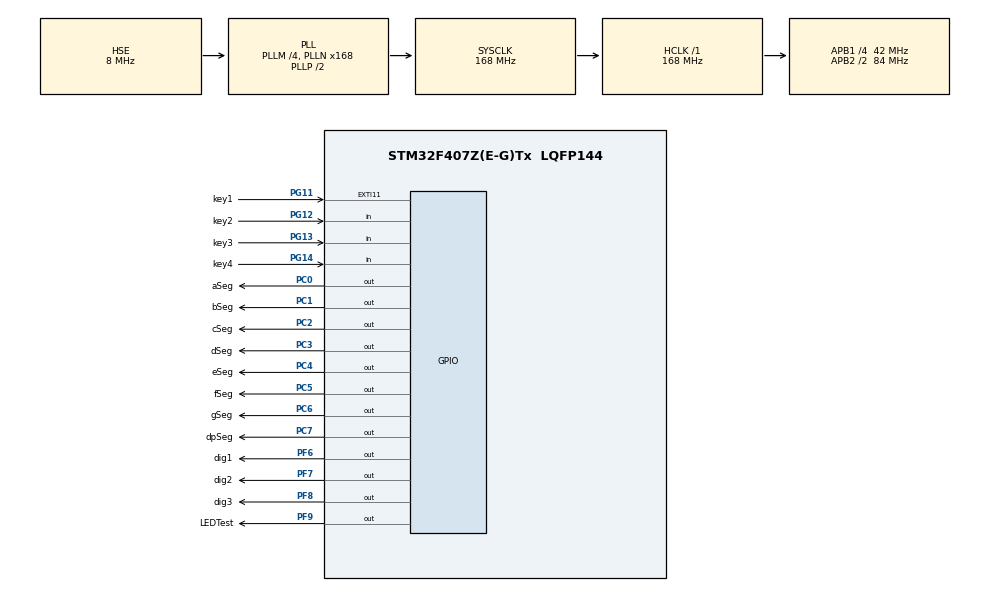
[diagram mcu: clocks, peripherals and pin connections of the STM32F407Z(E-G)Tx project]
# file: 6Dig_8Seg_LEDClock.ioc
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Mcu.Family=STM32F4
Mcu.Name=STM32F407Z(E-G)Tx
Mcu.Package=LQFP144
NVIC.EXTI15_10_IRQn=true\:0\:0\:false\:false\:true\:true\:true\:true
NVIC.PriorityGroup=NVIC_PRIORITYGROUP_4
NVIC.RCC_IRQn=true\:2\:0\:true\:false\:true\:true\:false\:true
NVIC.TIM1_UP_TIM10_IRQn=true\:1\:0\:true\:false\:true\:true\:true\:true
NVIC.TIM6_DAC_IRQn=true\:4\:0\:true\:false\:true\:true\:true\:true
PA13.Mode=Serial_Wire
PA13.Signal=SYS_JTMS-SWDIO
PA14.Mode=Serial_Wire
PA14.Signal=SYS_JTCK-SWCLK
PC0.GPIO_Label=aSeg
PC0.GPIO_PuPd=GPIO_PULLDOWN
PC0.PinState=GPIO_PIN_SET
PC0.Signal=GPIO_Output
PC1.GPIO_Label=bSeg
PC1.GPIO_PuPd=GPIO_PULLDOWN
PC1.PinState=GPIO_PIN_SET
PC1.Signal=GPIO_Output
PC14-OSC32_IN.Mode=LSE-External-Oscillator
PC14-OSC32_IN.Signal=RCC_OSC32_IN
PC15-OSC32_OUT.Mode=LSE-External-Oscillator
PC15-OSC32_OUT.Signal=RCC_OSC32_OUT
PC2.GPIO_Label=cSeg
PC2.GPIO_PuPd=GPIO_PULLDOWN
PC2.PinState=GPIO_PIN_SET
PC2.Signal=GPIO_Output
PC3.GPIO_Label=dSeg
PC3.GPIO_PuPd=GPIO_PULLDOWN
PC3.PinState=GPIO_PIN_SET
PC3.Signal=GPIO_Output
PC4.GPIO_Label=eSeg
PC4.GPIO_PuPd=GPIO_PULLDOWN
PC4.PinState=GPIO_PIN_SET
PC4.Signal=GPIO_Output
PC5.GPIO_Label=fSeg
PC5.GPIO_PuPd=GPIO_PULLDOWN
PC5.PinState=GPIO_PIN_SET
PC5.Signal=GPIO_Output
PC6.GPIO_Label=gSeg
PC6.GPIO_PuPd=GPIO_PULLDOWN
PC6.PinState=GPIO_PIN_SET
PC6.Signal=GPIO_Output
PC7.GPIO_Label=dpSeg
PC7.GPIO_PuPd=GPIO_PULLDOWN
PC7.PinState=GPIO_PIN_SET
PC7.Signal=GPIO_Output
PF6.GPIO_Label=dig1
PF6.GPIO_ModeDefaultOutputPP=GPIO_MODE_OUTPUT_PP
PF6.GPIO_PuPd=GPIO_PULLUP
PF6.PinState=GPIO_PIN_SET
PF6.Signal=GPIO_Output
PF7.GPIO_Label=dig2
PF7.GPIO_PuPd=GPIO_PULLUP
PF7.PinState=GPIO_PIN_SET
PF7.Signal=GPIO_Output
PF8.GPIO_Label=dig3
PF8.GPIO_PuPd=GPIO_PULLUP
PF8.PinState=GPIO_PIN_SET
PF8.Signal=GPIO_Output
PF9.GPIO_Label=LEDTest
PF9.GPIO_PuPd=GPIO_PULLUP
PF9.PinState=GPIO_PIN_SET
PF9.Signal=GPIO_Output
PG11.GPIO_Label=key1
PG11.GPIO_ModeDefaultEXTI=GPIO_MODE_IT_RISING_FALLING
PG11.GPIO_PuPd=GPIO_PULLUP
PG11.Signal=GPXTI11
PG12.GPIO_Label=key2
PG12.GPIO_PuPd=GPIO_PULLUP
PG12.Signal=GPIO_Input
PG13.GPIO_Label=key3
PG13.GPIO_PuPd=GPIO_PULLUP
PG13.Signal=GPIO_Input
PG14.GPIO_Label=key4
PG14.GPIO_PuPd=GPIO_PULLUP
PG14.Signal=GPIO_Input
PH0-OSC_IN.Mode=HSE-External-Oscillator
PH0-OSC_IN.Signal=RCC_OSC_IN
PH1-OSC_OUT.Mode=HSE-External-Oscillator
PH1-OSC_OUT.Signal=RCC_OSC_OUT
ProjectManager.HeapSize=0x200
ProjectManager.StackSize=0x400
ProjectManager.TargetToolchain=MDK-ARM V5.32
RCC.48MHZClocksFreq_Value=84000000
RCC.AHBFreq_Value=168000000
RCC.APB1CLKDivider=RCC_HCLK_DIV4
RCC.APB1Freq_Value=42000000
RCC.APB1TimFreq_Value=84000000
RCC.APB2CLKDivider=RCC_HCLK_DIV2
RCC.APB2Freq_Value=84000000
RCC.APB2TimFreq_Value=168000000
RCC.CortexFreq_Value=168000000
RCC.HCLKFreq_Value=168000000
RCC.HSE_VALUE=8000000
RCC.HSI_VALUE=16000000
RCC.PLLM=4
RCC.PLLN=168
RCC.PLLSourceVirtual=RCC_PLLSOURCE_HSE
RCC.RCC_RTC_Clock_Source=RCC_RTCCLKSOURCE_LSE
RCC.RCC_RTC_Clock_SourceVirtual=RCC_RTCCLKSOURCE_LSE
RCC.SYSCLKFreq_VALUE=168000000
RCC.SYSCLKSource=RCC_SYSCLKSOURCE_PLLCLK
RCC.VCOOutputFreq_Value=336000000
RTC.Format=RTC_FORMAT_BIN
RTC.Month=RTC_MONTH_JANUARY
TIM10.Period=999
TIM10.Prescaler=167
TIM6.AutoReloadPreload=TIM_AUTORELOAD_PRELOAD_ENABLE
TIM6.Period=999
TIM6.Prescaler=83
VP_RTC_VS_RTC_Activate.Mode=RTC_Enabled
VP_RTC_VS_RTC_Calendar.Mode=RTC_Calendar
VP_TIM10_VS_ClockSourceINT.Mode=Enable_Timer
VP_TIM6_VS_ClockSourceINT.Mode=Enable_Timer
board=custom

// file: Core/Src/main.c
/* USER CODE BEGIN Header */
/**
  ******************************************************************************
  * @file           : main.c
  * @brief          : Main program body
  ******************************************************************************
  * @attention
  *
  * Copyright (c) 2026 STMicroelectronics.
  * All rights reserved.
  *
  * This software is licensed under terms that can be found in the LICENSE file
  * in the root directory of this software component.
  * If no LICENSE file comes with this software, it is provided AS-IS.
  *
  ******************************************************************************
  */
/* USER CODE END Header */
#include "main.h"

/* USER CODE BEGIN Includes */
#include "key.h"
#include "LED.h"
#include "RTCGet.h"
#include "LEDInit.h"
// #include "LEDChange.h"
/* USER CODE END Includes */

RTC_HandleTypeDef hrtc;

TIM_HandleTypeDef htim6;
TIM_HandleTypeDef htim10;

/* USER CODE BEGIN PV */

RTC_HandleTypeDef hrtc;
TIM_HandleTypeDef htim6;

int LEDStatusNum = 0;
int *LEDStatus = &LEDStatusNum;

RTC_TimeTypeDef TimeNum = {0};
RTC_TimeTypeDef *Time = &TimeNum;

int modeStatus = 0;
int *modeOfLED = &modeStatus;

/* USER CODE END PV */

void SystemClock_Config(void);
static void MX_GPIO_Init(void);
static void MX_RTC_Init(void);
static void MX_TIM6_Init(void);
static void MX_TIM10_Init(void);

int main(void)
{

  /* MCU Configuration--------------------------------------------------------*/

  /* Reset of all peripherals, Initializes the Flash interface and the Systick. */
  HAL_Init();

  /* Configure the system clock */
  SystemClock_Config();

  /* Initialize all configured peripherals */
  MX_GPIO_Init();
  MX_RTC_Init();
  MX_TIM6_Init();
  MX_TIM10_Init();
  /* USER CODE BEGIN 2 */
  HAL_RTC_Init(&hrtc);
	LEDInit();

  HAL_TIM_Base_Start_IT(&htim6);
  HAL_TIM_Base_Start_IT(&htim10);

  /* USER CODE END 2 */

  /* Infinite loop */
  while (1)
  {

  }
}

void SystemClock_Config(void)
{
  RCC_OscInitTypeDef RCC_OscInitStruct = {0};
  RCC_ClkInitTypeDef RCC_ClkInitStruct = {0};

  /** Configure the main internal regulator output voltage
  */
  __HAL_RCC_PWR_CLK_ENABLE();
  __HAL_PWR_VOLTAGESCALING_CONFIG(PWR_REGULATOR_VOLTAGE_SCALE1);

  /** Initializes the RCC Oscillators according to the specified parameters
  * in the RCC_OscInitTypeDef structure.
  */
  RCC_OscInitStruct.OscillatorType = RCC_OSCILLATORTYPE_HSE|RCC_OSCILLATORTYPE_LSE;
  RCC_OscInitStruct.HSEState = RCC_HSE_ON;
  RCC_OscInitStruct.LSEState = RCC_LSE_ON;
  RCC_OscInitStruct.PLL.PLLState = RCC_PLL_ON;
  RCC_OscInitStruct.PLL.PLLSource = RCC_PLLSOURCE_HSE;
  RCC_OscInitStruct.PLL.PLLM = 4;
  RCC_OscInitStruct.PLL.PLLN = 168;
  RCC_OscInitStruct.PLL.PLLP = RCC_PLLP_DIV2;
  RCC_OscInitStruct.PLL.PLLQ = 4;
  if (HAL_RCC_OscConfig(&RCC_OscInitStruct) != HAL_OK)
  {
    Error_Handler();
  }

  /** Initializes the CPU, AHB and APB buses clocks
  */
  RCC_ClkInitStruct.ClockType = RCC_CLOCKTYPE_HCLK|RCC_CLOCKTYPE_SYSCLK
                              |RCC_CLOCKTYPE_PCLK1|RCC_CLOCKTYPE_PCLK2;
  RCC_ClkInitStruct.SYSCLKSource = RCC_SYSCLKSOURCE_PLLCLK;
  RCC_ClkInitStruct.AHBCLKDivider = RCC_SYSCLK_DIV1;
  RCC_ClkInitStruct.APB1CLKDivider = RCC_HCLK_DIV4;
  RCC_ClkInitStruct.APB2CLKDivider = RCC_HCLK_DIV2;

  if (HAL_RCC_ClockConfig(&RCC_ClkInitStruct, FLASH_LATENCY_5) != HAL_OK)
  {
    Error_Handler();
  }
}

static void MX_RTC_Init(void)
{

  RTC_TimeTypeDef sTime = {0};
  RTC_DateTypeDef sDate = {0};

  /** Initialize RTC Only
  */
  hrtc.Instance = RTC;
  hrtc.Init.HourFormat = RTC_HOURFORMAT_24;
  hrtc.Init.AsynchPrediv = 127;
  hrtc.Init.SynchPrediv = 255;
  hrtc.Init.OutPut = RTC_OUTPUT_DISABLE;
  hrtc.Init.OutPutPolarity = RTC_OUTPUT_POLARITY_HIGH;
  hrtc.Init.OutPutType = RTC_OUTPUT_TYPE_OPENDRAIN;
  if (HAL_RTC_Init(&hrtc) != HAL_OK)
  {
    Error_Handler();
  }

  /** Initialize RTC and set the Time and Date
  */
  sTime.Hours = 0;
  sTime.Minutes = 0;
  sTime.Seconds = 0;
  sTime.DayLightSaving = RTC_DAYLIGHTSAVING_NONE;
  sTime.StoreOperation = RTC_STOREOPERATION_RESET;
  if (HAL_RTC_SetTime(&hrtc, &sTime, RTC_FORMAT_BIN) != HAL_OK)
  {
    Error_Handler();
  }
  sDate.WeekDay = RTC_WEEKDAY_MONDAY;
  sDate.Month = RTC_MONTH_JANUARY;
  sDate.Date = 1;
  sDate.Year = 0;

  if (HAL_RTC_SetDate(&hrtc, &sDate, RTC_FORMAT_BIN) != HAL_OK)
  {
    Error_Handler();
  }

}

static void MX_TIM6_Init(void)
{

  TIM_MasterConfigTypeDef sMasterConfig = {0};

  htim6.Instance = TIM6;
  htim6.Init.Prescaler = 83;
  htim6.Init.CounterMode = TIM_COUNTERMODE_UP;
  htim6.Init.Period = 999;
  htim6.Init.AutoReloadPreload = TIM_AUTORELOAD_PRELOAD_ENABLE;
  if (HAL_TIM_Base_Init(&htim6) != HAL_OK)
  {
    Error_Handler();
  }
  sMasterConfig.MasterOutputTrigger = TIM_TRGO_RESET;
  sMasterConfig.MasterSlaveMode = TIM_MASTERSLAVEMODE_DISABLE;
  if (HAL_TIMEx_MasterConfigSynchronization(&htim6, &sMasterConfig) != HAL_OK)
  {
    Error_Handler();
  }

}

static void MX_TIM10_Init(void)
{

  htim10.Instance = TIM10;
  htim10.Init.Prescaler = 167;
  htim10.Init.CounterMode = TIM_COUNTERMODE_UP;
  htim10.Init.Period = 999;
  htim10.Init.ClockDivision = TIM_CLOCKDIVISION_DIV1;
  htim10.Init.AutoReloadPreload = TIM_AUTORELOAD_PRELOAD_DISABLE;
  if (HAL_TIM_Base_Init(&htim10) != HAL_OK)
  {
    Error_Handler();
  }

}

static void MX_GPIO_Init(void)
{
  GPIO_InitTypeDef GPIO_InitStruct = {0};

  /* GPIO Ports Clock Enable */
  __HAL_RCC_GPIOC_CLK_ENABLE();
  __HAL_RCC_GPIOF_CLK_ENABLE();
  __HAL_RCC_GPIOH_CLK_ENABLE();
  __HAL_RCC_GPIOA_CLK_ENABLE();
  __HAL_RCC_GPIOG_CLK_ENABLE();

  /*Configure GPIO pin Output Level */
  HAL_GPIO_WritePin(GPIOF, dig1_Pin|dig2_Pin|dig3_Pin|LEDTest_Pin, GPIO_PIN_SET);

  /*Configure GPIO pin Output Level */
  HAL_GPIO_WritePin(GPIOC, aSeg_Pin|bSeg_Pin|cSeg_Pin|dSeg_Pin
                          |eSeg_Pin|fSeg_Pin|gSeg_Pin|dpSeg_Pin, GPIO_PIN_SET);

  /*Configure GPIO pins : dig1_Pin dig2_Pin dig3_Pin LEDTest_Pin */
  GPIO_InitStruct.Pin = dig1_Pin|dig2_Pin|dig3_Pin|LEDTest_Pin;
  GPIO_InitStruct.Mode = GPIO_MODE_OUTPUT_PP;
  GPIO_InitStruct.Pull = GPIO_PULLUP;
  GPIO_InitStruct.Speed = GPIO_SPEED_FREQ_LOW;
  HAL_GPIO_Init(GPIOF, &GPIO_InitStruct);

  /*Configure GPIO pins : aSeg_Pin bSeg_Pin cSeg_Pin dSeg_Pin
                           eSeg_Pin fSeg_Pin gSeg_Pin dpSeg_Pin */
  GPIO_InitStruct.Pin = aSeg_Pin|bSeg_Pin|cSeg_Pin|dSeg_Pin
                          |eSeg_Pin|fSeg_Pin|gSeg_Pin|dpSeg_Pin;
  GPIO_InitStruct.Mode = GPIO_MODE_OUTPUT_PP;
  GPIO_InitStruct.Pull = GPIO_PULLDOWN;
  GPIO_InitStruct.Speed = GPIO_SPEED_FREQ_LOW;
  HAL_GPIO_Init(GPIOC, &GPIO_InitStruct);

  /*Configure GPIO pin : key1_Pin */
  GPIO_InitStruct.Pin = key1_Pin;
  GPIO_InitStruct.Mode = GPIO_MODE_IT_RISING_FALLING;
  GPIO_InitStruct.Pull = GPIO_PULLUP;
  HAL_GPIO_Init(key1_GPIO_Port, &GPIO_InitStruct);

  /*Configure GPIO pins : key2_Pin key3_Pin key4_Pin */
  GPIO_InitStruct.Pin = key2_Pin|key3_Pin|key4_Pin;
  GPIO_InitStruct.Mode = GPIO_MODE_INPUT;
  GPIO_InitStruct.Pull = GPIO_PULLUP;
  HAL_GPIO_Init(GPIOG, &GPIO_InitStruct);

  /* EXTI interrupt init*/
  HAL_NVIC_SetPriority(EXTI15_10_IRQn, 0, 0);
  HAL_NVIC_EnableIRQ(EXTI15_10_IRQn);

}

/* USER CODE BEGIN 4 */
//void HAL_TIM_PeriodElapsedCallback(TIM_HandleTypeDef *htim)
//{
//  if(htim->Instance == TIM6)
//	{
//    LEDToggle();
//	  LEDTimeShow();
//  }
//}

/**
 * key1外部中断，按下切换mode
 * key2按下+1
 * key3按下-1
 * key4按下确认
 */
void HAL_GPIO_EXTI_Callback(uint16_t GPIO_Pin)
{
	LEDInit();
  HAL_GPIO_WritePin(dpSeg_GPIO_Port, dpSeg_Pin, GPIO_PIN_SET);
	*modeOfLED += 1;
}
/* USER CODE END 4 */

void Error_Handler(void)
{
  __disable_irq();
  while (1)
  {
  }
}
